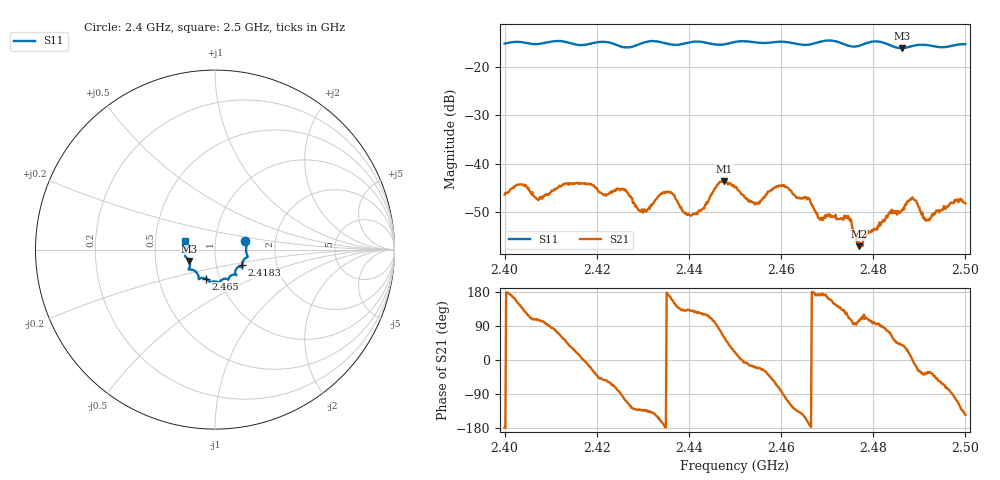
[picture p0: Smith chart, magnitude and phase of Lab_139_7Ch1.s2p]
# Hz S RI R 50
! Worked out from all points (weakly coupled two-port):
!   601 points, 2.4 GHz to 2.5 GHz, reference 50 ohm
!   highest |S21| = -43.59 dB at 2.4477 GHz (marker M1); lowest = -57.1 dB at 2.4768 GHz (marker M2)
!   lowest |S11| = -16.1 dB at 2.4862 GHz (marker M3), VSWR 1.37, Z = 37.2 - j4.82 ohm
!   |S11| at or under -10 dB: start of sweep to end of sweep
!   S12 and S22 are empty: the file has one direction only
!   S11 on the Smith chart (normalised r, x): 2.4 GHz: 1.40, +0.14; 2.4183 GHz: 1.33, -0.24; 2.465 GHz: 0.86, -0.28; 2.5 GHz: 0.71, +0.07
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2.4e9  0.1688 0.0471  -0.00475 -0.000186  0 0  0 0
2.416667e9  0.1546 -0.0682  0.00618 0.00062  0 0  0 0
2.418333e9  0.1501 -0.0868  0.00593 -0.00165  0 0  0 0
2.426e9  0.1253 -0.1  -0.00126 -0.00511  0 0  0 0
2.4295e9  0.1132 -0.1332  -0.00215 -0.0024  0 0  0 0
2.433333e9  0.1175 -0.1409  -0.0041 -0.00204  0 0  0 0
2.435833e9  0.1018 -0.1391  -0.00486 0.00107  0 0  0 0
2.441e9  0.0751 -0.1672  -0.00192 0.0023  0 0  0 0
2.447667e9  0.0388 -0.1674  0.00338 0.00569  0 0  0 0
2.45e9  0.0262 -0.1803  0.00527 0.00203  0 0  0 0
2.4545e9  0.0112 -0.1798  0.00367 -0.00125  0 0  0 0
2.46e9  -0.0267 -0.1813  0.000875 -0.00583  0 0  0 0
2.465e9  -0.0524 -0.1615  -0.00383 -0.00236  0 0  0 0
2.466667e9  -0.0714 -0.1577  -0.00369 5.64e-05  0 0  0 0
2.4685e9  -0.0867 -0.1612  -0.00258 0.000383  0 0  0 0
2.474667e9  -0.0983 -0.1338  -0.000954 0.00248  0 0  0 0
2.476833e9  -0.1196 -0.1147  -0.000335 0.00135  0 0  0 0
2.483333e9  -0.1412 -0.0966  0.000866 0.0029  0 0  0 0
2.486167e9  -0.1436 -0.0633  0.00253 0.0021  0 0  0 0
2.488833e9  -0.1615 -0.0416  0.00417 -0.000542  0 0  0 0
2.491667e9  -0.1666 -0.0307  0.00218 -0.0014  0 0  0 0
2.5e9  -0.1664 0.0467  -0.00315 -0.00222  0 0  0 0
